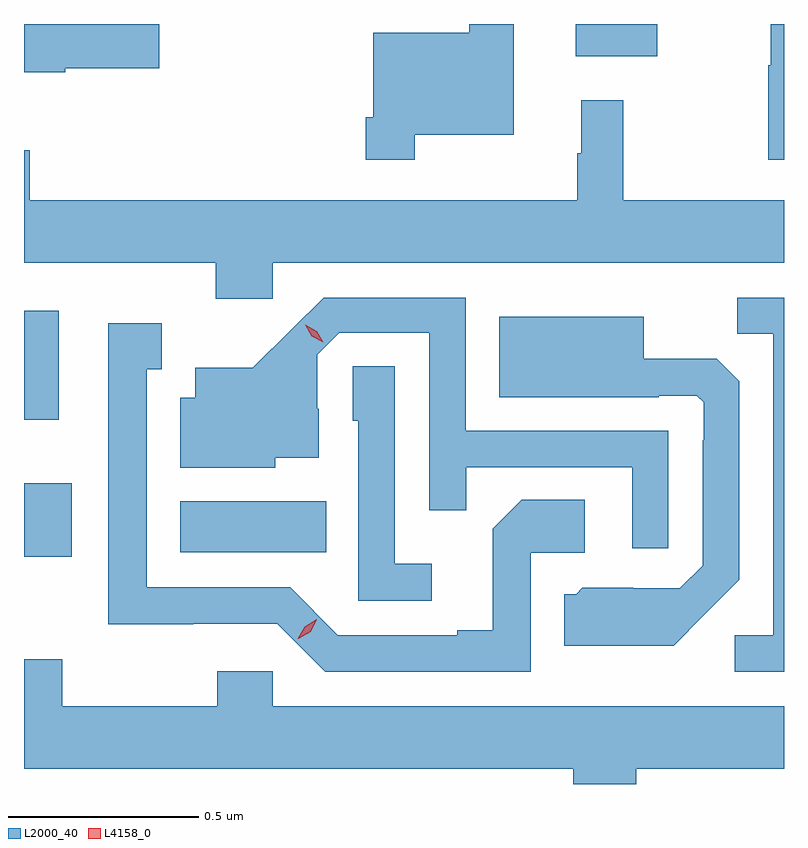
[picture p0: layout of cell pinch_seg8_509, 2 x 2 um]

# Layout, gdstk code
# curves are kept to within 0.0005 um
import gdstk
lib = gdstk.Library(unit=1e-6, precision=1e-09)
def R(c, l, rs):  # rectangles x0, y0, x1, y1
    for r in rs: c.add(gdstk.rectangle(r[:2], r[2:], *l))
def P(c, l, *ps):  # polygons
    for p in ps: c.add(gdstk.Polygon(p, *l))
L2000_40 = (2000, 40)
L4158_0 = (4158, 0)

pinch_seg8_509 = lib.new_cell('pinch_seg8_509')
R(pinch_seg8_509, L2000_40, [(157.607,1123.718,157.732,1123.912), (158.018,1123.73,158.402,1123.864), (157.607,1124.078,157.699,1124.365), (159.059,1125.035,159.274,1125.12)])
P(pinch_seg8_509, L2000_40, [(159.607,1125.12),(159.572,1125.12),(159.572,1125.011),(159.565,1125.011),(159.565,1124.763),(159.607,1124.763)],
  [(158.635,1124.828),(158.896,1124.828),(158.896,1125.12),(158.779,1125.12),(158.779,1125.097),(158.526,1125.097),(158.526,1124.875),(158.506,1124.875),(158.506,1124.763),(158.635,1124.763)],
  [(157.716,1125.004),(157.963,1125.004),(157.963,1125.12),(157.607,1125.12),(157.607,1124.993),(157.716,1124.993)],
  [(158.262,1124.492),(159.607,1124.492),(159.607,1124.656),(159.184,1124.656),(159.184,1124.92),(159.074,1124.92),(159.074,1124.78),(159.063,1124.78),(159.063,1124.656),(157.622,1124.656),(157.622,1124.788),(157.607,1124.788),(157.607,1124.492),(158.111,1124.492),(158.111,1124.397),(158.262,1124.397)],
  [(159.607,1124.4),(159.484,1124.4),(159.484,1124.305),(159.579,1124.305),(159.579,1123.512),(159.477,1123.512),(159.477,1123.416),(159.607,1123.416)],
  [(159.303,1124.049),(158.769,1124.049),(158.769,1124.4),(158.396,1124.4),(158.209,1124.215),(158.057,1124.215),(158.057,1124.137),(158.018,1124.137),(158.018,1123.952),(158.268,1123.952),(158.268,1123.979),(158.383,1123.979),(158.383,1124.108),(158.379,1124.108),(158.379,1124.25),(158.436,1124.307),(158.673,1124.307),(158.673,1123.84),(158.771,1123.84),(158.771,1123.953),(159.207,1123.953),(159.207,1123.74),(159.303,1123.74)],
  [(159.397,1123.565),(159.489,1123.658),(159.489,1124.18),(159.43,1124.239),(159.238,1124.239),(159.238,1124.35),(158.858,1124.35),(158.858,1124.138),(159.278,1124.138),(159.278,1124.142),(159.378,1124.142),(159.396,1124.124),(159.396,1124.024),(159.393,1124.024),(159.393,1123.695),(159.333,1123.635),(159.21,1123.635),(159.21,1123.636),(159.076,1123.636),(159.06,1123.62),(159.029,1123.62),(159.029,1123.484),(159.317,1123.484)],
  [(158.94,1123.728),(159.082,1123.728),(159.082,1123.868),(158.917,1123.868),(158.841,1123.792),(158.841,1123.525),(158.747,1123.525),(158.747,1123.512),(158.433,1123.512),(158.307,1123.638),(157.93,1123.638),(157.93,1124.211),(157.969,1124.211),(157.969,1124.332),(157.829,1124.332),(157.829,1123.541),(158.052,1123.541),(158.052,1123.542),(158.274,1123.542),(158.4,1123.416),(158.94,1123.416)],
  [(158.68,1123.699),(158.583,1123.699),(158.583,1124.219),(158.472,1124.219),(158.472,1124.076),(158.487,1124.076),(158.487,1123.602),(158.68,1123.602)],
  [(159.218,1123.16),(159.607,1123.16),(159.607,1123.324),(158.262,1123.324),(158.262,1123.417),(158.116,1123.417),(158.116,1123.324),(157.707,1123.324),(157.707,1123.448),(157.607,1123.448),(157.607,1123.16),(159.053,1123.16),(159.053,1123.12),(159.218,1123.12)])
P(pinch_seg8_509, L4158_0, [(158.394,1124.282),(158.364,1124.298),(158.347,1124.328),(158.347,1124.328),(158.347,1124.328),(158.378,1124.312),(158.395,1124.282),(158.395,1124.282)],
  [(158.328,1123.502),(158.328,1123.502),(158.346,1123.534),(158.378,1123.553),(158.378,1123.553),(158.378,1123.553),(158.361,1123.521),(158.329,1123.502)])

lib.write_gds('pinch_seg8_509.gds')
